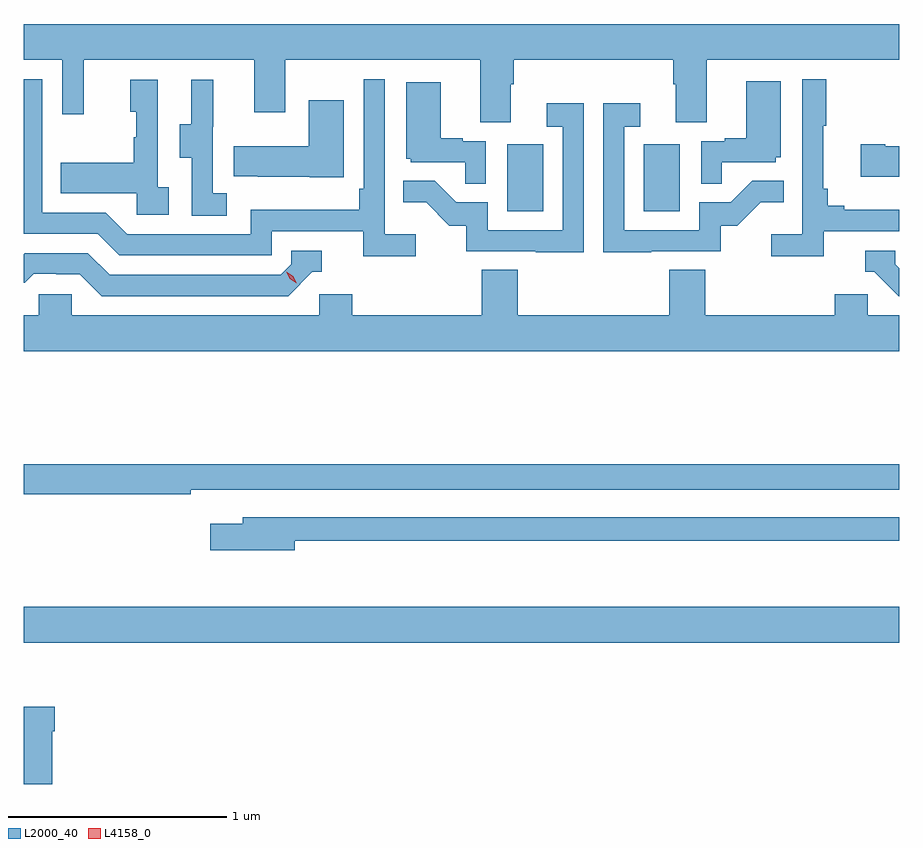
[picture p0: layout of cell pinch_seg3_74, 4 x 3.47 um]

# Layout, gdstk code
import gdstk
lib = gdstk.Library(unit=1e-6, precision=1e-09)
def R(c, l, rs):  # rectangles x0, y0, x1, y1
    for r in rs: c.add(gdstk.rectangle(r[:2], r[2:], *l))
def P(c, l, *ps):  # polygons
    for p in ps: c.add(gdstk.Polygon(p, *l))
L2000_40 = (2000, 40)
L4158_0 = (4158, 0)

pinch_seg3_74 = lib.new_cell('pinch_seg3_74')
R(pinch_seg3_74, L2000_40, [(1042.273,739.544,1046.273,739.708), (1044.482,741.516,1044.646,741.823), (1045.106,741.516,1045.27,741.823)])
P(pinch_seg3_74, L2000_40, [(1044.499,742.096),(1044.512,742.096),(1044.512,742.208),(1045.241,742.208),(1045.241,742.096),(1045.253,742.096),(1045.253,741.922),(1045.393,741.922),(1045.393,742.208),(1046.273,742.208),(1046.273,742.372),(1042.273,742.372),(1042.273,742.208),(1042.449,742.208),(1042.449,741.96),(1042.547,741.96),(1042.547,742.208),(1043.327,742.208),(1043.327,741.969),(1043.467,741.969),(1043.467,742.208),(1044.359,742.208),(1044.359,741.922),(1044.499,741.922)],
  [(1045.928,741.426),(1046.273,741.426),(1046.273,741.523),(1046.023,741.523),(1046.023,741.542),(1045.946,741.542),(1045.946,741.619),(1045.927,741.619),(1045.927,741.907),(1045.939,741.907),(1045.939,742.12),(1045.83,742.12),(1045.83,741.412),(1045.689,741.412),(1045.689,741.31),(1045.928,741.31)],
  [(1044.064,741.412),(1043.922,741.412),(1043.922,742.12),(1043.826,742.12),(1043.826,741.619),(1043.806,741.619),(1043.806,741.523),(1043.31,741.523),(1043.31,741.411),(1042.746,741.411),(1042.647,741.51),(1042.356,741.51),(1042.356,742.119),(1042.273,742.119),(1042.273,741.414),(1042.61,741.414),(1042.709,741.315),(1043.406,741.315),(1043.406,741.426),(1043.825,741.426),(1043.825,741.31),(1044.064,741.31)],
  [(1042.936,741.626),(1042.884,741.626),(1042.884,742.117),(1042.76,742.117),(1042.76,741.972),(1042.786,741.972),(1042.786,741.854),(1042.776,741.854),(1042.776,741.739),(1042.441,741.739),(1042.441,741.599),(1042.788,741.599),(1042.788,741.501),(1042.936,741.501)],
  [(1043.2,741.599),(1043.136,741.599),(1043.136,741.903),(1043.138,741.903),(1043.138,742.117),(1043.039,742.117),(1043.039,741.915),(1042.985,741.915),(1042.985,741.76),(1043.04,741.76),(1043.04,741.496),(1043.2,741.496)],
  [(1045.463,741.741),(1045.71,741.741),(1045.71,741.762),(1045.732,741.762),(1045.732,742.111),(1045.574,742.111),(1045.574,741.85),(1045.475,741.85),(1045.475,741.837),(1045.368,741.837),(1045.368,741.643),(1045.463,741.643)],
  [(1044.384,741.837),(1044.278,741.837),(1044.278,741.85),(1044.178,741.85),(1044.178,742.105),(1044.02,742.105),(1044.02,741.756),(1044.042,741.756),(1044.042,741.741),(1044.289,741.741),(1044.289,741.643),(1044.384,741.643)],
  [(1043.734,742.024),(1043.576,742.024),(1043.576,741.814),(1043.233,741.814),(1043.233,741.677),(1043.341,741.677),(1043.341,741.674),(1043.58,741.674),(1043.58,741.671),(1043.734,741.671)],
  [(1045.139,741.333),(1045.458,741.333),(1045.458,741.45),(1045.534,741.45),(1045.641,741.557),(1045.745,741.557),(1045.745,741.656),(1045.601,741.656),(1045.503,741.558),(1045.359,741.558),(1045.359,741.429),(1045.017,741.429),(1045.017,741.903),(1045.09,741.903),(1045.09,742.009),(1044.921,742.009),(1044.921,741.328),(1045.139,741.328)],
  [(1044.831,742.009),(1044.663,742.009),(1044.663,741.903),(1044.735,741.903),(1044.735,741.429),(1044.393,741.429),(1044.393,741.558),(1044.249,741.558),(1044.151,741.656),(1044.007,741.656),(1044.007,741.557),(1044.111,741.557),(1044.218,741.45),(1044.295,741.45),(1044.295,741.333),(1044.613,741.333),(1044.613,741.328),(1044.831,741.328)],
  [(1046.273,741.814),(1046.209,741.814),(1046.209,741.822),(1046.097,741.822),(1046.097,741.674),(1046.273,741.674)],
  [(1043.592,741.24),(1043.635,741.24),(1043.635,741.336),(1043.496,741.336),(1043.496,741.273),(1043.448,741.225),(1042.665,741.225),(1042.566,741.324),(1042.277,741.324),(1042.273,741.32),(1042.273,741.189),(1042.277,741.189),(1042.319,741.231),(1042.422,741.231),(1042.422,741.228),(1042.529,741.228),(1042.628,741.129),(1043.481,741.129)],
  [(1046.273,741.256),(1046.256,741.273),(1046.256,741.336),(1046.117,741.336),(1046.117,741.24),(1046.16,741.24),(1046.271,741.129),(1046.273,741.129)],
  [(1046.273,741.04),(1046.13,741.04),(1046.13,741.138),(1045.978,741.138),(1045.978,741.04),(1045.388,741.04),(1045.388,741.248),(1045.223,741.248),(1045.223,741.04),(1044.53,741.04),(1044.53,741.248),(1044.365,741.248),(1044.365,741.04),(1043.774,741.04),(1043.774,741.138),(1043.622,741.138),(1043.622,741.04),(1042.491,741.04),(1042.491,741.138),(1042.341,741.138),(1042.341,741.04),(1042.273,741.04),(1042.273,740.876),(1046.273,740.876)],
  [(1043.036,740.244),(1046.273,740.244),(1046.273,740.36),(1042.273,740.36),(1042.273,740.224),(1043.036,740.224)],
  [(1043.512,740.01),(1046.273,740.01),(1046.273,740.118),(1043.273,740.118),(1043.273,740.089),(1043.124,740.089),(1043.124,739.967),(1043.512,739.967)],
  [(1042.402,739.139),(1042.415,739.139),(1042.415,739.252),(1042.273,739.252),(1042.273,738.899),(1042.402,738.899)])
P(pinch_seg3_74, L4158_0, [(1043.52,741.188),(1043.489,741.207),(1043.472,741.239),(1043.472,741.239),(1043.473,741.239),(1043.504,741.22),(1043.52,741.188),(1043.52,741.188)])

lib.write_gds('pinch_seg3_74.gds')
